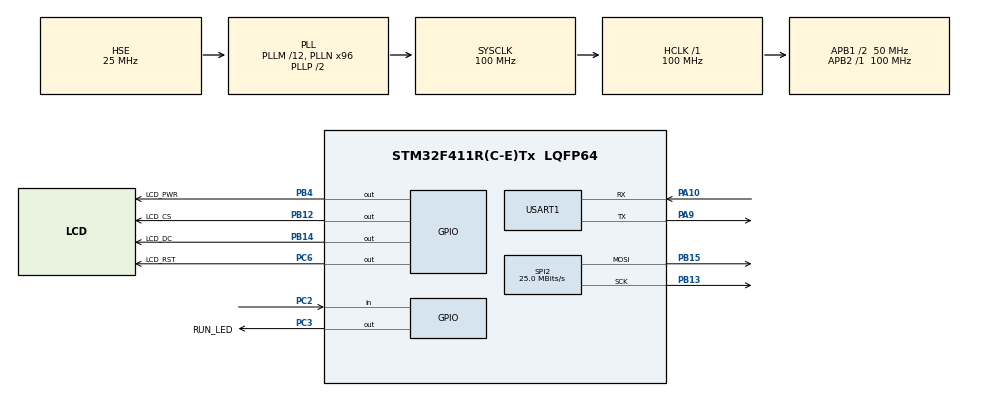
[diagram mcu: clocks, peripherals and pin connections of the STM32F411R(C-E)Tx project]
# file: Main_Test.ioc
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Dma.Request0=USART1_RX
Dma.Request1=USART1_TX
Dma.USART1_RX.0.Direction=DMA_PERIPH_TO_MEMORY
Dma.USART1_RX.0.FIFOMode=DMA_FIFOMODE_DISABLE
Dma.USART1_RX.0.Instance=DMA2_Stream2
Dma.USART1_RX.0.MemDataAlignment=DMA_MDATAALIGN_BYTE
Dma.USART1_RX.0.MemInc=DMA_MINC_ENABLE
Dma.USART1_RX.0.Mode=DMA_NORMAL
Dma.USART1_RX.0.PeriphDataAlignment=DMA_PDATAALIGN_BYTE
Dma.USART1_RX.0.PeriphInc=DMA_PINC_DISABLE
Dma.USART1_RX.0.Priority=DMA_PRIORITY_LOW
Dma.USART1_TX.1.Direction=DMA_MEMORY_TO_PERIPH
Dma.USART1_TX.1.FIFOMode=DMA_FIFOMODE_DISABLE
Dma.USART1_TX.1.Instance=DMA2_Stream7
Dma.USART1_TX.1.MemDataAlignment=DMA_MDATAALIGN_BYTE
Dma.USART1_TX.1.MemInc=DMA_MINC_ENABLE
Dma.USART1_TX.1.Mode=DMA_NORMAL
Dma.USART1_TX.1.PeriphDataAlignment=DMA_PDATAALIGN_BYTE
Dma.USART1_TX.1.PeriphInc=DMA_PINC_DISABLE
Dma.USART1_TX.1.Priority=DMA_PRIORITY_LOW
Mcu.Family=STM32F4
Mcu.Name=STM32F411R(C-E)Tx
Mcu.Package=LQFP64
Mcu.UserConstants=TIM_11_PERIOD,Counter_period;TIM_11_PRESCALER,Prescaler
NVIC.DMA2_Stream2_IRQn=true\:0\:0\:false\:false\:true\:false\:true\:true
NVIC.DMA2_Stream7_IRQn=true\:0\:0\:false\:false\:true\:false\:true\:true
NVIC.PriorityGroup=NVIC_PRIORITYGROUP_4
NVIC.TIM1_TRG_COM_TIM11_IRQn=true\:0\:0\:false\:false\:true\:true\:true\:true
NVIC.TIM1_UP_TIM10_IRQn=true\:0\:0\:false\:false\:true\:true\:true\:true
PA10.Mode=Asynchronous
PA10.Signal=USART1_RX
PA13.Mode=Serial_Wire
PA13.Signal=SYS_JTMS-SWDIO
PA14.Mode=Serial_Wire
PA14.Signal=SYS_JTCK-SWCLK
PA9.Mode=Asynchronous
PA9.Signal=USART1_TX
PB12.GPIO_Label=LCD_CS
PB12.GPIO_Speed=GPIO_SPEED_FREQ_VERY_HIGH
PB12.Signal=GPIO_Output
PB13.Mode=TX_Only_Simplex_Unidirect_Master
PB13.Signal=SPI2_SCK
PB14.GPIO_Label=LCD_DC
PB14.GPIO_Speed=GPIO_SPEED_FREQ_VERY_HIGH
PB14.Signal=GPIO_Output
PB15.Mode=TX_Only_Simplex_Unidirect_Master
PB15.Signal=SPI2_MOSI
PB4.GPIO_Label=LCD_PWR
PB4.GPIO_Speed=GPIO_SPEED_FREQ_VERY_HIGH
PB4.Signal=GPIO_Output
PC14-OSC32_IN.Mode=LSE-External-Oscillator
PC14-OSC32_IN.Signal=RCC_OSC32_IN
PC15-OSC32_OUT.Mode=LSE-External-Oscillator
PC15-OSC32_OUT.Signal=RCC_OSC32_OUT
PC2.Signal=GPIO_Input
PC3.GPIO_Label=RUN_LED
PC3.GPIO_Speed=GPIO_SPEED_FREQ_VERY_HIGH
PC3.Signal=GPIO_Output
PC6.GPIO_Label=LCD_RST
PC6.GPIO_Speed=GPIO_SPEED_FREQ_VERY_HIGH
PC6.Signal=GPIO_Output
PH0\ -\ OSC_IN.Mode=HSE-External-Oscillator
PH0\ -\ OSC_IN.Signal=RCC_OSC_IN
PH1\ -\ OSC_OUT.Mode=HSE-External-Oscillator
PH1\ -\ OSC_OUT.Signal=RCC_OSC_OUT
ProjectManager.HeapSize=0x200
ProjectManager.StackSize=0x400
ProjectManager.TargetToolchain=MDK-ARM V5.32
RCC.48MHZClocksFreq_Value=50000000
RCC.AHBFreq_Value=100000000
RCC.APB1CLKDivider=RCC_HCLK_DIV2
RCC.APB1Freq_Value=50000000
RCC.APB1TimFreq_Value=100000000
RCC.APB2Freq_Value=100000000
RCC.APB2TimFreq_Value=100000000
RCC.CortexFreq_Value=100000000
RCC.HCLKFreq_Value=100000000
RCC.HSE_VALUE=25000000
RCC.HSI_VALUE=16000000
RCC.PLLM=12
RCC.PLLN=96
RCC.PLLSourceVirtual=RCC_PLLSOURCE_HSE
RCC.SYSCLKFreq_VALUE=100000000
RCC.SYSCLKSource=RCC_SYSCLKSOURCE_PLLCLK
RCC.VCOOutputFreq_Value=200000000
SPI2.BaudRatePrescaler=SPI_BAUDRATEPRESCALER_2
SPI2.CLKPhase=SPI_PHASE_2EDGE
SPI2.CLKPolarity=SPI_POLARITY_HIGH
SPI2.CalculateBaudRate=25.0 MBits/s
SPI2.Direction=SPI_DIRECTION_2LINES
SPI2.Mode=SPI_MODE_MASTER
SPI2.VirtualType=VM_MASTER
TIM10.Period=9999
TIM10.Prescaler=7199
TIM11.Period=TIM_11_PERIOD
TIM11.Prescaler=TIM_11_PRESCALER
USART1.VirtualMode=VM_ASYNC
VP_TIM10_VS_ClockSourceINT.Mode=Enable_Timer
VP_TIM11_VS_ClockSourceINT.Mode=Enable_Timer
board=custom

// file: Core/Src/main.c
/* USER CODE BEGIN Header */
/**
  ******************************************************************************
  * @file           : main.c
  * @brief          : Main program body
  ******************************************************************************
  * @attention
  *
  * Copyright (c) 2024 STMicroelectronics.
  * All rights reserved.
  *
  * This software is licensed under terms that can be found in the LICENSE file
  * in the root directory of this software component.
  * If no LICENSE file comes with this software, it is provided AS-IS.
  *
  ******************************************************************************
  */
/* USER CODE END Header */
#include "main.h"
#include "dma.h"
#include "spi.h"
#include "tim.h"
#include "usart.h"
#include "gpio.h"

/* USER CODE BEGIN Includes */
#include "tim_base.h"
#include "lcd.h"
#include <stdio.h>
/* USER CODE END Includes */

void SystemClock_Config(void);
/* USER CODE BEGIN PFP */

unsigned int Prescaler = 0;
unsigned int Counter_period = 0;
RunTime runtime = {0};

/* USER CODE END PFP */

int main(void)
{

  /* MCU Configuration--------------------------------------------------------*/

  /* Reset of all peripherals, Initializes the Flash interface and the Systick. */
  HAL_Init();

  /* Configure the system clock */
  SystemClock_Config();

  /* Initialize all configured peripherals */
  MX_GPIO_Init();
  MX_DMA_Init();
  MX_TIM10_Init();
  MX_TIM11_Init();
  MX_USART1_UART_Init();
  MX_SPI2_Init();
  /* USER CODE BEGIN 2 */

	 if (calculate_dividers(TARGET_FREQ, &Prescaler, &Counter_period) == 0)
		{
        MX_TIM11_Init();//123
    }

	HAL_TIM_Base_Start_IT(&htim11); //��ʱ��6ʹ��
	HAL_TIM_Base_Start_IT(&htim10); //��ʱ��7ʹ��
	HAL_Delay(100);

	#ifdef LOG_OUTPUT
	HAL_Delay(500);
	printf("\r\n======================================\r\n");
	printf("   ______  ______  _______ \r\n");
	printf("  / __/  |/  / _ )/ __/ _ \\\r\n");
	printf(" / _// /|_/ / _  / _// , _/\r\n");
	printf("/___/_/  /_/____/___/_/|_| \r\n");
	printf("System Start!\r\n");
	printf("Version: 1.0\r\n");
	printf("\r\n======================================\r\n");
	printf("[info]Running....\r\n");
	#endif

	LCD_Init();
	//	LCD_Init();
  /* USER CODE END 2 */

  /* Infinite loop */
  while (1)
  {

    /* USER CODE BEGIN 3 */
		//LCD_Init();

		LCD_Clear(WHITE);
	//	HAL_GPIO_TogglePin(RUN_LED_GPIO_Port,RUN_LED_Pin);
		/*----------------------1S---------------------------*/
 if (time_base_get_flag(BASE_1000MS))
    {
      time_base_clear_flag(BASE_1000MS);
			HAL_GPIO_TogglePin(RUN_LED_GPIO_Port,RUN_LED_Pin);
			LCD_Clear(RED);

    }
/*----------------------100mS------------------------*/
if (time_base_get_flag(BASE_100MS))
    {
		time_base_clear_flag(BASE_100MS);

    }
/*----------------------10mS-------------------------*/
    if (time_base_get_flag(BASE_10MS))
    {
      time_base_clear_flag(BASE_10MS);

    }
/*----------------------Main TASK--------------------*/

/*----------------END---Main TASK--------------------*/
  }
  /* USER CODE END 3 */
}

void SystemClock_Config(void)
{
  RCC_OscInitTypeDef RCC_OscInitStruct = {0};
  RCC_ClkInitTypeDef RCC_ClkInitStruct = {0};

  /** Configure the main internal regulator output voltage
  */
  __HAL_RCC_PWR_CLK_ENABLE();
  __HAL_PWR_VOLTAGESCALING_CONFIG(PWR_REGULATOR_VOLTAGE_SCALE1);

  /** Initializes the RCC Oscillators according to the specified parameters
  * in the RCC_OscInitTypeDef structure.
  */
  RCC_OscInitStruct.OscillatorType = RCC_OSCILLATORTYPE_HSE;
  RCC_OscInitStruct.HSEState = RCC_HSE_ON;
  RCC_OscInitStruct.PLL.PLLState = RCC_PLL_ON;
  RCC_OscInitStruct.PLL.PLLSource = RCC_PLLSOURCE_HSE;
  RCC_OscInitStruct.PLL.PLLM = 12;
  RCC_OscInitStruct.PLL.PLLN = 96;
  RCC_OscInitStruct.PLL.PLLP = RCC_PLLP_DIV2;
  RCC_OscInitStruct.PLL.PLLQ = 4;
  if (HAL_RCC_OscConfig(&RCC_OscInitStruct) != HAL_OK)
  {
    Error_Handler();
  }

  /** Initializes the CPU, AHB and APB buses clocks
  */
  RCC_ClkInitStruct.ClockType = RCC_CLOCKTYPE_HCLK|RCC_CLOCKTYPE_SYSCLK
                              |RCC_CLOCKTYPE_PCLK1|RCC_CLOCKTYPE_PCLK2;
  RCC_ClkInitStruct.SYSCLKSource = RCC_SYSCLKSOURCE_PLLCLK;
  RCC_ClkInitStruct.AHBCLKDivider = RCC_SYSCLK_DIV1;
  RCC_ClkInitStruct.APB1CLKDivider = RCC_HCLK_DIV2;
  RCC_ClkInitStruct.APB2CLKDivider = RCC_HCLK_DIV1;

  if (HAL_RCC_ClockConfig(&RCC_ClkInitStruct, FLASH_LATENCY_3) != HAL_OK)
  {
    Error_Handler();
  }
}

/* USER CODE BEGIN 4 */

void HAL_TIM_PeriodElapsedCallback(TIM_HandleTypeDef *htim)
{
if (htim->Instance == htim10.Instance) //��ʱ��11�ж�ҵ��
		{
				update_run_time_s(&runtime);
		}
  if (htim->Instance == BASE_TIMER.Instance)
  {
    time_base_update();
  }
}

uint8_t RX_Data[50];
void HAL_UARTEx_RxEventCallback(UART_HandleTypeDef *huart , uint16_t Size)
{
	if(huart == &huart1)
	{
		HAL_UART_Transmit_DMA(&huart1 , (uint8_t*)RX_Data , Size);
		HAL_UARTEx_ReceiveToIdle_DMA(&huart1 , RX_Data , sizeof(RX_Data));
	}
}

/* USER CODE END 4 */

void Error_Handler(void)
{
  __disable_irq();
  while (1)
  {
  }
}
